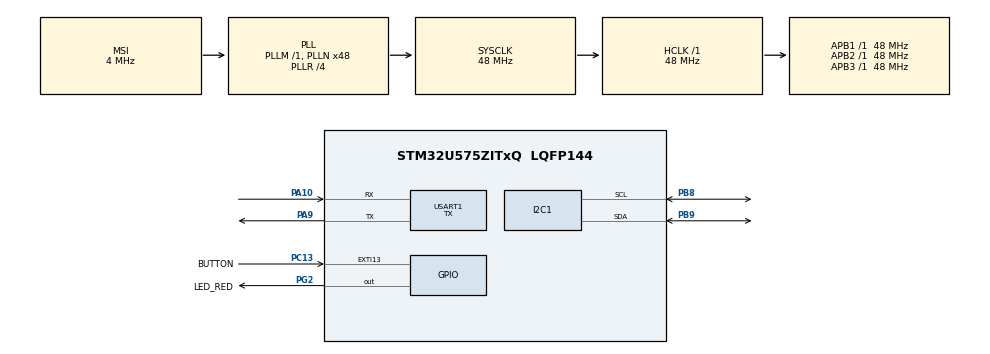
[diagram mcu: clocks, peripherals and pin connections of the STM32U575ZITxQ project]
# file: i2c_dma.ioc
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CORTEX_M33_NS.userName=CORTEX_M33
GPDMA1.DESTINC_GPDMACH0=DMA_DINC_INCREMENTED
GPDMA1.DIRECTION_GPDMACH1=DMA_MEMORY_TO_PERIPH
GPDMA1.IPHANDLE_GPDMACH0-SIMPLEREQUEST_GPDMACH0=__NULL
GPDMA1.IPHANDLE_GPDMACH1-SIMPLEREQUEST_GPDMACH1=__NULL
GPDMA1.REQUEST_GPDMACH0=GPDMA1_REQUEST_I2C1_RX
GPDMA1.REQUEST_GPDMACH1=GPDMA1_REQUEST_I2C1_TX
GPDMA1.SRCINC_GPDMACH1=DMA_SINC_INCREMENTED
I2C1.Timing=0x20303E5D
Mcu.Family=STM32U5
Mcu.Name=STM32U575ZITxQ
Mcu.Package=LQFP144
NVIC.EXTI13_IRQn=true\:5\:0\:true\:false\:true\:true\:true\:true
NVIC.GPDMA1_Channel0_IRQn=true\:5\:0\:true\:false\:true\:false\:true\:true
NVIC.GPDMA1_Channel1_IRQn=true\:5\:0\:true\:false\:true\:false\:true\:true
NVIC.I2C1_ER_IRQn=true\:5\:0\:true\:false\:true\:true\:true\:true
NVIC.I2C1_EV_IRQn=true\:5\:0\:true\:false\:true\:true\:true\:true
NVIC.PriorityGroup=NVIC_PRIORITYGROUP_4
PA10.Mode=Asynchronous
PA10.Signal=USART1_RX
PA9.Mode=Asynchronous
PA9.Signal=USART1_TX
PB8.Mode=I2C
PB8.Signal=I2C1_SCL
PB9.Mode=I2C
PB9.Signal=I2C1_SDA
PC13.GPIO_Label=BUTTON
PC13.GPIO_ModeDefaultEXTI=GPIO_MODE_IT_RISING_FALLING
PC13.Signal=GPXTI13
PC14-OSC32_IN\ (PC14).Mode=LSE-External-Oscillator
PC14-OSC32_IN\ (PC14).Signal=RCC_OSC32_IN
PC15-OSC32_OUT\ (PC15).Mode=LSE-External-Oscillator
PC15-OSC32_OUT\ (PC15).Signal=RCC_OSC32_OUT
PG2.GPIO_Label=LED_RED
PG2.Signal=GPIO_Output
PWR.PowerMode=PWR_SMPS_SUPPLY
ProjectManager.HeapSize=0x200
ProjectManager.StackSize=0x400
ProjectManager.TargetToolchain=STM32CubeIDE
RCC.ADCFreq_Value=16000000
RCC.AHBFreq_Value=48000000
RCC.APB1Freq_Value=48000000
RCC.APB1TimFreq_Value=48000000
RCC.APB2Freq_Value=48000000
RCC.APB2TimFreq_Value=48000000
RCC.APB3Freq_Value=48000000
RCC.CortexFreq_Value=48000000
RCC.EPOD_VALUE=4000000
RCC.HCLKFreq_Value=48000000
RCC.HSE_VALUE=16000000
RCC.HSI48_VALUE=48000000
RCC.HSI_VALUE=16000000
RCC.LSIDIV_VALUE=32000
RCC.MSIAutoCalibration=PLLMODE_MSIS
RCC.MSI_VALUE=4000000
RCC.PLL1R=4
RCC.PLLN=48
RCC.SYSCLKFreq_VALUE=48000000
RCC.SYSCLKSource=RCC_SYSCLKSOURCE_PLLCLK
RCC.USBFreq_Value=48000000
RCC.VCOOutputFreq_Value=192000000
USART1.Mode=MODE_TX
USART1.VirtualMode-Asynchronous=VM_ASYNC
VP_GPDMA1_VS_GPDMACH0.Mode=SIMPLEREQUEST_GPDMACH0
VP_GPDMA1_VS_GPDMACH1.Mode=SIMPLEREQUEST_GPDMACH1
VP_ICACHE_VS_ICACHE.Mode=DirectMappedCache
VP_LPBAMQUEUE_VS_QUEUE.Mode=QUEUEMODE
VP_LPBAM_VS_SIG1.Mode=SmartRun
VP_LPBAM_VS_SIG4.Mode=LPDMA1
VP_MEMORYMAP_VS_MEMORYMAP.Mode=CurAppReg
VP_PWR_VS_LPOM.Mode=PowerOptimisation
VP_PWR_VS_SECSignals.Mode=Security/Privilege
board=custom

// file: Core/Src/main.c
/* USER CODE BEGIN Header */
/**
  ******************************************************************************
  * @file           : main.c
  * @brief          : Main program body
  ******************************************************************************
  * @attention
  *
  * Copyright (c) 2025 STMicroelectronics.
  * All rights reserved.
  *
  * This software is licensed under terms that can be found in the LICENSE file
  * in the root directory of this software component.
  * If no LICENSE file comes with this software, it is provided AS-IS.
  *
  ******************************************************************************
  */
/* USER CODE END Header */
#include "main.h"

/* USER CODE BEGIN Includes */
#include <stdio.h>
#include "interrupt_callbacks.h"
/* USER CODE END Includes */

I2C_HandleTypeDef hi2c1;
DMA_HandleTypeDef handle_GPDMA1_Channel1;
DMA_HandleTypeDef handle_GPDMA1_Channel0;

UART_HandleTypeDef huart1;

/* USER CODE BEGIN PV */
const uint16_t TMP102_I2C_ADDR = (0x48 << 1); // I2C address in 8-bit format
const uint8_t TMP102_REG_TEMP = 0x00; // Temperature register
const uint8_t TMP102_REG_CFG = 0x01; // Configuration register
/* USER CODE END PV */

void SystemClock_Config(void);
static void SystemPower_Config(void);
static void MX_GPIO_Init(void);
static void MX_GPDMA1_Init(void);
static void MX_ICACHE_Init(void);
static void MX_I2C1_Init(void);
static void MX_USART1_UART_Init(void);

int main(void)
{

  /* USER CODE BEGIN 1 */
  HAL_StatusTypeDef status;
  uint8_t i2c_buf[16];
  /* USER CODE END 1 */

  /* MCU Configuration--------------------------------------------------------*/

  /* Reset of all peripherals, Initializes the Flash interface and the Systick. */
  HAL_Init();

  /* Configure the System Power */
  SystemPower_Config();

  /* Configure the system clock */
  SystemClock_Config();

  /* Initialize all configured peripherals */
  MX_GPIO_Init();
  MX_GPDMA1_Init();
  MX_ICACHE_Init();
  MX_I2C1_Init();
  MX_USART1_UART_Init();
  /* USER CODE BEGIN 2 */
  printf("\r******* Start *******\r\n");

  i2c_buf[0] = TMP102_REG_CFG;
  i2c_buf[1] = 0x60; // Config byte 1: default value
  i2c_buf[2] = 0x60; // Config byte 2: conversion rate: 1 Hz
  status = HAL_I2C_Master_Transmit_DMA(&hi2c1, TMP102_I2C_ADDR, i2c_buf, 3U);
  if (status == HAL_OK) {
	  while (i2c_tx_cplt == 0U) {} // Wait for completion
	  i2c_tx_cplt = 0U;
  } else {
	  printf("Error at I2C transmit (config register)\r\n");
  }
  /* USER CODE END 2 */

  /* Infinite loop */
  /* USER CODE BEGIN WHILE */
  while (1)
  {
	  if (i2c_tx_cplt) {
		  i2c_tx_cplt = 0U;
		  status = HAL_I2C_Master_Receive_DMA(&hi2c1, TMP102_I2C_ADDR, i2c_buf, 2U);
		  if (status != HAL_OK) {
			  printf("Error at I2C receive\r\n");
		  }
	  }

	  if (i2c_rx_cplt) {
		  i2c_rx_cplt = 0U;
		  uint16_t temp_uint = ((uint16_t)i2c_buf[0]) << 4U; // Byte 1: bits 11 .. 4
		  temp_uint |= ((uint16_t)i2c_buf[1]) >> 4U; 		// Byte 2: bits 3 .. 0
		  if ((temp_uint & 0x800) > 0U) { // If sign bit is set, propagate it to 4 hsbs
		  	temp_uint |= 0xF000;
		  }
		  float temp_C = (float)((int16_t)temp_uint) * 0.0625f; // Conversion to signed and multiplication by increment
		  printf("temperature: %ld degC\r\n", (int32_t)temp_C);
	  }

	  if (button_rising) {
		  button_rising = 0U;
		  HAL_GPIO_WritePin(LED_RED_GPIO_Port, LED_RED_Pin, GPIO_PIN_SET);

		  // Transmit
		  i2c_buf[0] = TMP102_REG_TEMP;
		  status = HAL_I2C_Master_Transmit_DMA(&hi2c1, TMP102_I2C_ADDR, i2c_buf, 1U);
		  if (status != HAL_OK) {
			  printf("Error at I2C transmit\r\n");
		  }
	  }

	  if (button_falling) {
		  button_falling = 0U;
		  HAL_GPIO_WritePin(LED_RED_GPIO_Port, LED_RED_Pin, GPIO_PIN_RESET);
	  }
    /* USER CODE END WHILE */

  }
}

void SystemClock_Config(void)
{
  RCC_OscInitTypeDef RCC_OscInitStruct = {0};
  RCC_ClkInitTypeDef RCC_ClkInitStruct = {0};

  /** Configure the main internal regulator output voltage
  */
  if (HAL_PWREx_ControlVoltageScaling(PWR_REGULATOR_VOLTAGE_SCALE3) != HAL_OK)
  {
    Error_Handler();
  }

  /** Configure LSE Drive Capability
  */
  HAL_PWR_EnableBkUpAccess();
  __HAL_RCC_LSEDRIVE_CONFIG(RCC_LSEDRIVE_LOW);

  /** Initializes the CPU, AHB and APB buses clocks
  */
  RCC_OscInitStruct.OscillatorType = RCC_OSCILLATORTYPE_LSE|RCC_OSCILLATORTYPE_MSI;
  RCC_OscInitStruct.LSEState = RCC_LSE_ON;
  RCC_OscInitStruct.MSIState = RCC_MSI_ON;
  RCC_OscInitStruct.MSICalibrationValue = RCC_MSICALIBRATION_DEFAULT;
  RCC_OscInitStruct.MSIClockRange = RCC_MSIRANGE_4;
  RCC_OscInitStruct.PLL.PLLState = RCC_PLL_ON;
  RCC_OscInitStruct.PLL.PLLSource = RCC_PLLSOURCE_MSI;
  RCC_OscInitStruct.PLL.PLLMBOOST = RCC_PLLMBOOST_DIV1;
  RCC_OscInitStruct.PLL.PLLM = 1;
  RCC_OscInitStruct.PLL.PLLN = 48;
  RCC_OscInitStruct.PLL.PLLP = 2;
  RCC_OscInitStruct.PLL.PLLQ = 2;
  RCC_OscInitStruct.PLL.PLLR = 4;
  RCC_OscInitStruct.PLL.PLLRGE = RCC_PLLVCIRANGE_0;
  RCC_OscInitStruct.PLL.PLLFRACN = 0;
  if (HAL_RCC_OscConfig(&RCC_OscInitStruct) != HAL_OK)
  {
    Error_Handler();
  }

  /** Initializes the CPU, AHB and APB buses clocks
  */
  RCC_ClkInitStruct.ClockType = RCC_CLOCKTYPE_HCLK|RCC_CLOCKTYPE_SYSCLK
                              |RCC_CLOCKTYPE_PCLK1|RCC_CLOCKTYPE_PCLK2
                              |RCC_CLOCKTYPE_PCLK3;
  RCC_ClkInitStruct.SYSCLKSource = RCC_SYSCLKSOURCE_PLLCLK;
  RCC_ClkInitStruct.AHBCLKDivider = RCC_SYSCLK_DIV1;
  RCC_ClkInitStruct.APB1CLKDivider = RCC_HCLK_DIV1;
  RCC_ClkInitStruct.APB2CLKDivider = RCC_HCLK_DIV1;
  RCC_ClkInitStruct.APB3CLKDivider = RCC_HCLK_DIV1;

  if (HAL_RCC_ClockConfig(&RCC_ClkInitStruct, FLASH_LATENCY_1) != HAL_OK)
  {
    Error_Handler();
  }

  /** Enable MSI Auto calibration
  */
  HAL_RCCEx_EnableMSIPLLModeSelection(RCC_MSISPLL_MODE_SEL);
  HAL_RCCEx_EnableMSIPLLMode();
}

/**
  * @brief Power Configuration
  * @retval None
  */
static void SystemPower_Config(void)
{
  HAL_PWREx_EnableVddIO2();

  /*
   * Switch to SMPS regulator instead of LDO
   */
  if (HAL_PWREx_ConfigSupply(PWR_SMPS_SUPPLY) != HAL_OK)
  {
    Error_Handler();
  }
}

static void MX_GPDMA1_Init(void)
{

  /* Peripheral clock enable */
  __HAL_RCC_GPDMA1_CLK_ENABLE();

  /* GPDMA1 interrupt Init */
    HAL_NVIC_SetPriority(GPDMA1_Channel0_IRQn, 5, 0);
    HAL_NVIC_EnableIRQ(GPDMA1_Channel0_IRQn);
    HAL_NVIC_SetPriority(GPDMA1_Channel1_IRQn, 5, 0);
    HAL_NVIC_EnableIRQ(GPDMA1_Channel1_IRQn);

}

static void MX_I2C1_Init(void)
{

  hi2c1.Instance = I2C1;
  hi2c1.Init.Timing = 0x20303E5D;
  hi2c1.Init.OwnAddress1 = 0;
  hi2c1.Init.AddressingMode = I2C_ADDRESSINGMODE_7BIT;
  hi2c1.Init.DualAddressMode = I2C_DUALADDRESS_DISABLE;
  hi2c1.Init.OwnAddress2 = 0;
  hi2c1.Init.OwnAddress2Masks = I2C_OA2_NOMASK;
  hi2c1.Init.GeneralCallMode = I2C_GENERALCALL_DISABLE;
  hi2c1.Init.NoStretchMode = I2C_NOSTRETCH_DISABLE;
  if (HAL_I2C_Init(&hi2c1) != HAL_OK)
  {
    Error_Handler();
  }

  /** Configure Analogue filter
  */
  if (HAL_I2CEx_ConfigAnalogFilter(&hi2c1, I2C_ANALOGFILTER_ENABLE) != HAL_OK)
  {
    Error_Handler();
  }

  /** Configure Digital filter
  */
  if (HAL_I2CEx_ConfigDigitalFilter(&hi2c1, 0) != HAL_OK)
  {
    Error_Handler();
  }

}

static void MX_ICACHE_Init(void)
{

  /** Enable instruction cache in 1-way (direct mapped cache)
  */
  if (HAL_ICACHE_ConfigAssociativityMode(ICACHE_1WAY) != HAL_OK)
  {
    Error_Handler();
  }
  if (HAL_ICACHE_Enable() != HAL_OK)
  {
    Error_Handler();
  }

}

static void MX_USART1_UART_Init(void)
{

  huart1.Instance = USART1;
  huart1.Init.BaudRate = 115200;
  huart1.Init.WordLength = UART_WORDLENGTH_8B;
  huart1.Init.StopBits = UART_STOPBITS_1;
  huart1.Init.Parity = UART_PARITY_NONE;
  huart1.Init.Mode = UART_MODE_TX;
  huart1.Init.HwFlowCtl = UART_HWCONTROL_NONE;
  huart1.Init.OverSampling = UART_OVERSAMPLING_16;
  huart1.Init.OneBitSampling = UART_ONE_BIT_SAMPLE_DISABLE;
  huart1.Init.ClockPrescaler = UART_PRESCALER_DIV1;
  huart1.AdvancedInit.AdvFeatureInit = UART_ADVFEATURE_NO_INIT;
  if (HAL_UART_Init(&huart1) != HAL_OK)
  {
    Error_Handler();
  }
  if (HAL_UARTEx_SetTxFifoThreshold(&huart1, UART_TXFIFO_THRESHOLD_1_8) != HAL_OK)
  {
    Error_Handler();
  }
  if (HAL_UARTEx_SetRxFifoThreshold(&huart1, UART_RXFIFO_THRESHOLD_1_8) != HAL_OK)
  {
    Error_Handler();
  }
  if (HAL_UARTEx_DisableFifoMode(&huart1) != HAL_OK)
  {
    Error_Handler();
  }

}

static void MX_GPIO_Init(void)
{
  GPIO_InitTypeDef GPIO_InitStruct = {0};

  /* GPIO Ports Clock Enable */
  __HAL_RCC_GPIOC_CLK_ENABLE();
  __HAL_RCC_GPIOG_CLK_ENABLE();
  __HAL_RCC_GPIOA_CLK_ENABLE();
  __HAL_RCC_GPIOB_CLK_ENABLE();

  /*Configure GPIO pin Output Level */
  HAL_GPIO_WritePin(LED_RED_GPIO_Port, LED_RED_Pin, GPIO_PIN_RESET);

  /*Configure GPIO pin : BUTTON_Pin */
  GPIO_InitStruct.Pin = BUTTON_Pin;
  GPIO_InitStruct.Mode = GPIO_MODE_IT_RISING_FALLING;
  GPIO_InitStruct.Pull = GPIO_NOPULL;
  HAL_GPIO_Init(BUTTON_GPIO_Port, &GPIO_InitStruct);

  /*Configure GPIO pin : LED_RED_Pin */
  GPIO_InitStruct.Pin = LED_RED_Pin;
  GPIO_InitStruct.Mode = GPIO_MODE_OUTPUT_PP;
  GPIO_InitStruct.Pull = GPIO_NOPULL;
  GPIO_InitStruct.Speed = GPIO_SPEED_FREQ_LOW;
  HAL_GPIO_Init(LED_RED_GPIO_Port, &GPIO_InitStruct);

  /* EXTI interrupt init*/
  HAL_NVIC_SetPriority(EXTI13_IRQn, 5, 0);
  HAL_NVIC_EnableIRQ(EXTI13_IRQn);

}

/* USER CODE BEGIN 4 */
int __io_putchar(int ch)
{
	// Transmit 1 character over UART
	HAL_UART_Transmit(&huart1, (uint8_t*)&ch, 1U, HAL_MAX_DELAY);

	return ch;
}
/* USER CODE END 4 */

void Error_Handler(void)
{
  __disable_irq();
  while (1)
  {
  }
}
